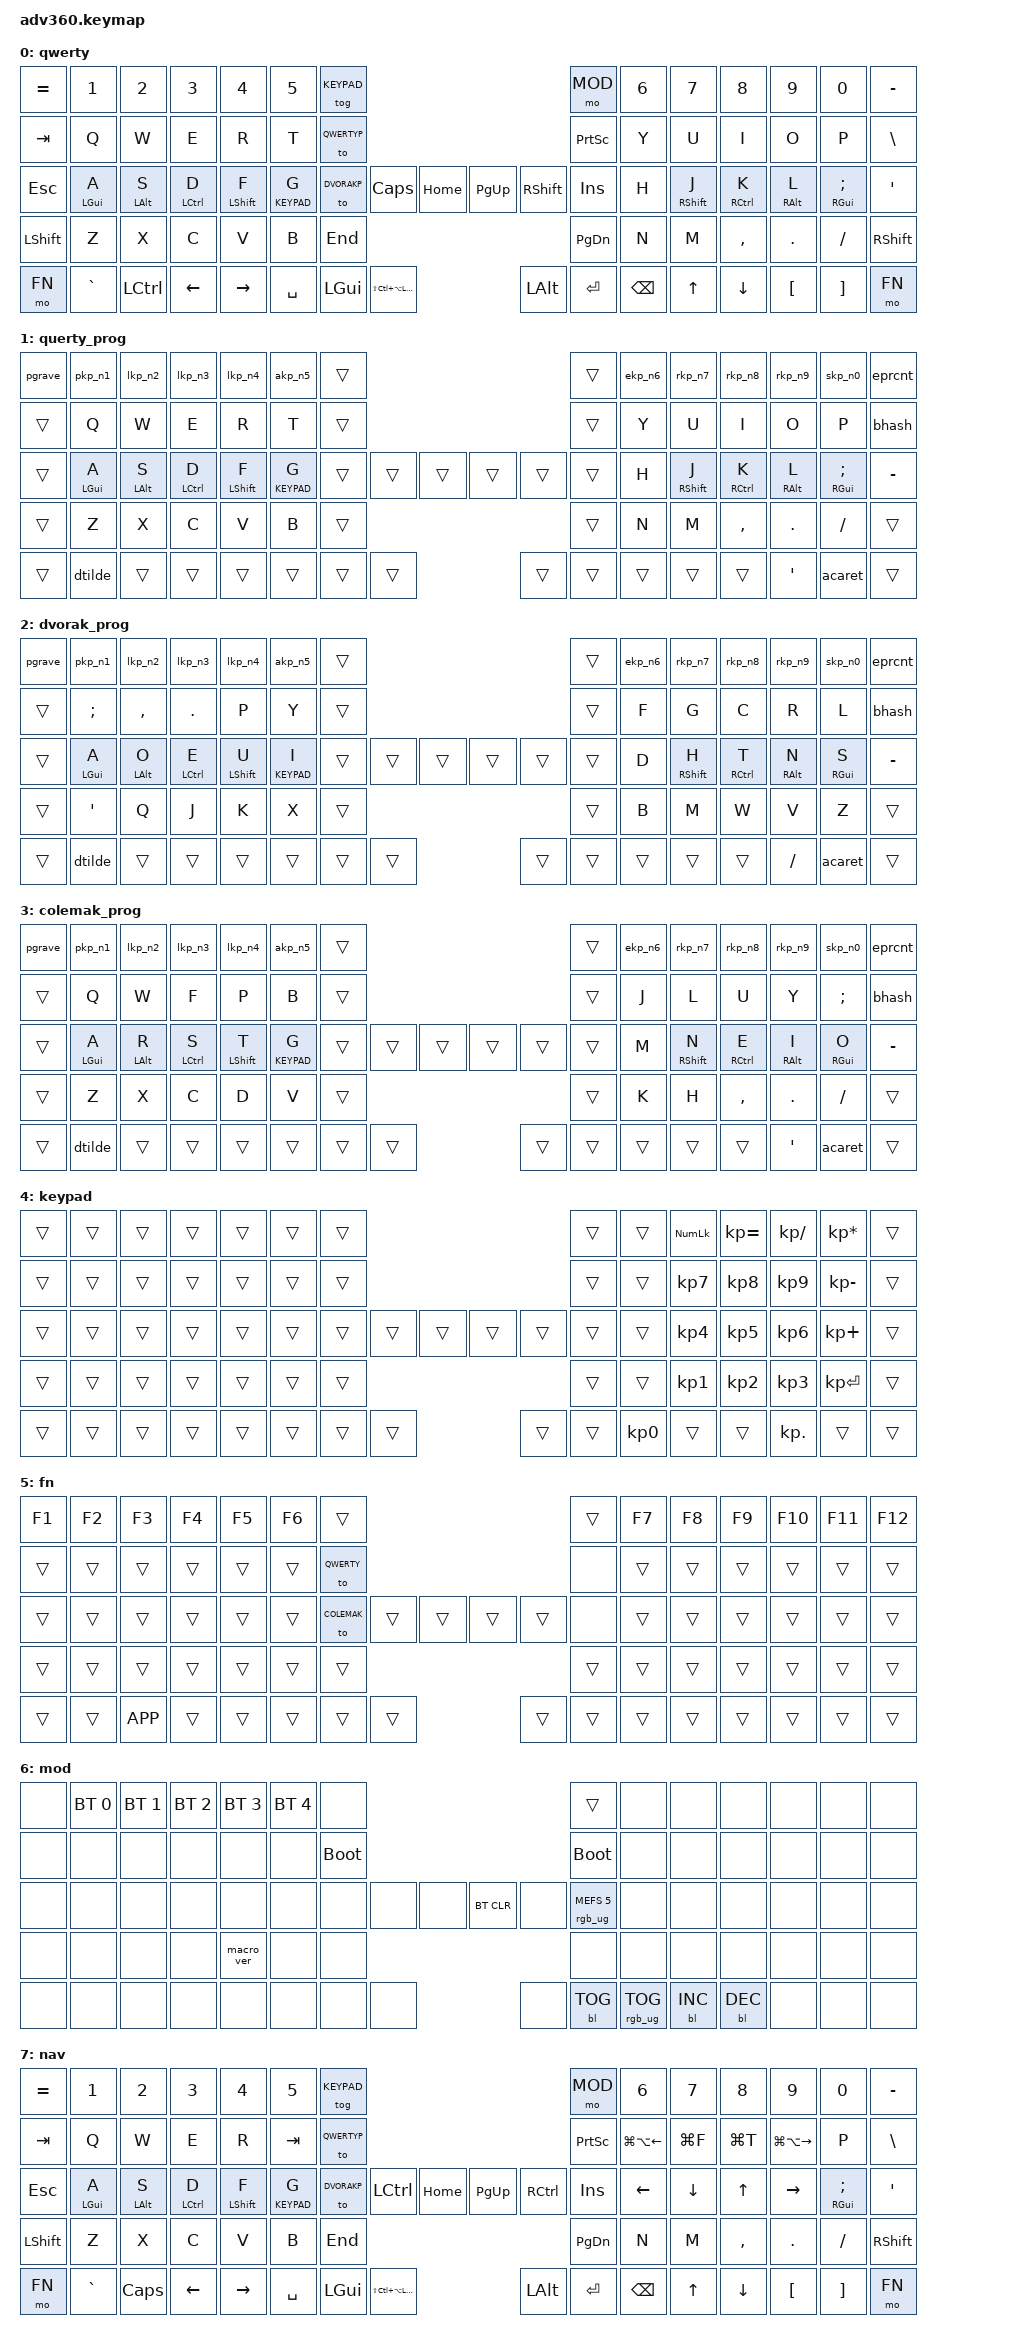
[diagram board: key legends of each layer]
#include <behaviors.dtsi>
#include <dt-bindings/zmk/keys.h>
#include <dt-bindings/zmk/bt.h>
#include <dt-bindings/zmk/rgb.h>
#include <dt-bindings/zmk/backlight.h>


#define ______ &trans
#define xxxxxx &none

#define HYPER    LS(LC(LA(LGUI)))
#define BROWSER_SEARCH LG(F) 
#define BROWSER_NEWTAB LG(T) 
#define BROWSER_NEXTTAB LG(LA(RIGHT))
#define BROWSER_PREVTAB LG(LA(LEFT))


#define QWERTY 0
#define QWERTYP 1
#define DVORAKP 2
#define COLEMAK 3
#define KEYPAD 4
#define FN 5
#define MOD 6
#define NAV 7


/ {
    behaviors {
        #include "macros.dtsi"
        #include "version.dtsi"
        #ifndef VERSION_MACRO
        macro_ver: macro_ver {
            compatible = "zmk,behavior-macro";
            label = "macro_version";
            #binding-cells = <0>;
            bindings = <&kp RET>;
        };
        #endif

        hm: homerow_mods {
            compatible = "zmk,behavior-hold-tap";
            label = "HOMEROW_MODS";
            #binding-cells = <2>;
            tapping-term-ms = <280>;
            quick_tap_ms = <175>;
            flavor = "tap-preferred";
            bindings = <&kp>, <&kp>;
        };
        hm_l: hm_l {
            compatible = "zmk,behavior-hold-tap";
            label = "HM_L";
            bindings = <&kp>, <&kp>;

            #binding-cells = <2>;
            tapping-term-ms = <280>;
            quick-tap-ms = <175>;
            require-prior-idle-ms = <150>;
            flavor = "balanced";
            hold-trigger-on-release;
            hold-trigger-key-positions = <7 8 9 10 11 12 13 21 22 23 24 25 26 27 37 38 39 40 41 42 43 44 45 53 54 55 56 57 58 59 68 69 70 71 72 73 74 75 36 52 67 35 66 65>;
        };
        hm_r: hm_r {
            compatible = "zmk,behavior-hold-tap";
            label = "HM_R";
            bindings = <&kp>, <&kp>;

            #binding-cells = <2>;
            tapping-term-ms = <280>;
            quick-tap-ms = <175>;
            flavor = "balanced";
            require-prior-idle-ms = <150>;
            hold-trigger-on-release;
            hold-trigger-key-positions = <0 1 2 3 4 5 6 14 15 16 17 18 19 20 28 29 30 31 32 33 34 35 36 46 47 48 49 50 51 52 60 61 62 63 64 65 66 67 37 38 53 69 68 70>;
        };
        gpipe: grave_pipe {
            compatible = "zmk,behavior-mod-morph";
            label = "grave_pipe";
            #binding-cells = <0>;
            bindings = <&kp GRAVE>, <&kp PIPE>;
            mods = <(LGUI|LSHIFT|RGUI|RSHIFT)>;
        };
        ppipe: pipe_pipe {
            compatible = "zmk,behavior-mod-morph";
            label = "pipe_pipe";
            #binding-cells = <0>;
            bindings = <&kp PIPE>, <&kp PIPE>;
            mods = <(LGUI|LSHIFT|RGUI|RSHIFT)>;
        };
        pkp_n1: plus_kp_n1 {
            compatible = "zmk,behavior-mod-morph";
            label = "plus_kp_n1";
            #binding-cells = <0>;
            bindings = <&kp PLUS>, <&kp KP_N1>;
            mods = <(LGUI|LSHIFT|RGUI|RSHIFT)>;
        };
        lkp_n2: left_bracket_kp_n2 {
            compatible = "zmk,behavior-mod-morph";
            label = "left_bracket_kp_n2";
            #binding-cells = <0>;
            bindings = <&kp LEFT_BRACKET>, <&kp KP_N2>;
            mods = <(LGUI|LSHIFT|RGUI|RSHIFT)>;
        };
        lkp_n3: left_brace_kp_n3 {
            compatible = "zmk,behavior-mod-morph";
            label = "left_brace_kp_n3";
            #binding-cells = <0>;
            bindings = <&kp LEFT_BRACE>, <&kp KP_N3>;
            mods = <(LGUI|LSHIFT|RGUI|RSHIFT)>;
        };
        lkp_n4: left_parenthesis_kp_n4 {
            compatible = "zmk,behavior-mod-morph";
            label = "left_parenthesis_kp_n4";
            #binding-cells = <0>;
            bindings = <&kp LEFT_PARENTHESIS>, <&kp KP_N4>;
            mods = <(LGUI|LSHIFT|RGUI|RSHIFT)>;
        };
        akp_n5: amps_kp_n5 {
            compatible = "zmk,behavior-mod-morph";
            label = "amps_kp_n5";
            #binding-cells = <0>;
            bindings = <&kp AMPS>, <&kp KP_N5>;
            mods = <(LGUI|LSHIFT|RGUI|RSHIFT)>;
        };
        ekp_n6: equal_kp_n6 {
            compatible = "zmk,behavior-mod-morph";
            label = "equal_kp_n6";
            #binding-cells = <0>;
            bindings = <&kp EQUAL>, <&kp KP_N6>;
            mods = <(LGUI|LSHIFT|RGUI|RSHIFT)>;
        };
        rkp_n7: right_parenthesis_kp_n7 {
            compatible = "zmk,behavior-mod-morph";
            label = "right_parenthesis_kp_n7";
            #binding-cells = <0>;
            bindings = <&kp RIGHT_PARENTHESIS>, <&kp KP_N7>;
            mods = <(LGUI|LSHIFT|RGUI|RSHIFT)>;
        };
        rkp_n8: right_brace_kp_n8 {
            compatible = "zmk,behavior-mod-morph";
            label = "right_brace_kp_n8";
            #binding-cells = <0>;
            bindings = <&kp RIGHT_BRACE>, <&kp KP_N8>;
            mods = <(LGUI|LSHIFT|RGUI|RSHIFT)>;
        };
        rkp_n9: right_bracket_kp_n9 {
            compatible = "zmk,behavior-mod-morph";
            label = "right_bracket_kp_n9";
            #binding-cells = <0>;
            bindings = <&kp RIGHT_BRACKET>, <&kp KP_N9>;
            mods = <(LGUI|LSHIFT|RGUI|RSHIFT)>;
        };
        skp_n0: star_kp_n0 {
            compatible = "zmk,behavior-mod-morph";
            label = "star_kp_n0";
            #binding-cells = <0>;
            bindings = <&kp STAR>, <&kp KP_N0>;
            mods = <(LGUI|LSHIFT|RGUI|RSHIFT)>;
        };
        eprcnt: excl_prcnt {
            compatible = "zmk,behavior-mod-morph";
            label = "excl_prcnt";
            #binding-cells = <0>;
            bindings = <&kp EXCL>, <&kp PRCNT>;
            mods = <(LGUI|LSHIFT|RGUI|RSHIFT)>;
        };
        dgrave: dllr_grave {
            compatible = "zmk,behavior-mod-morph";
            label = "dllr_grave";
            #binding-cells = <0>;
            bindings = <&kp DLLR>, <&kp GRAVE>;
            mods = <(LGUI|LSHIFT|RGUI|RSHIFT)>;
        };
        dtilde: dllr_tilde {
            compatible = "zmk,behavior-mod-morph";
            label = "dllr_tilde";
            #binding-cells = <0>;
            bindings = <&kp DLLR>, <&kp TILDE>;
            mods = <(LGUI|LSHIFT|RGUI|RSHIFT)>;
        };
        ggrave: grave_grave {
            compatible = "zmk,behavior-mod-morph";
            label = "grave_grave";
            #binding-cells = <0>;
            bindings = <&kp GRAVE>, <&kp GRAVE>;
            mods = <(LGUI|LSHIFT|RGUI|RSHIFT)>;
        };
        pgrave: pipe_grave {
            compatible = "zmk,behavior-mod-morph";
            label = "pipe_grave";
            #binding-cells = <0>;
            bindings = <&kp PIPE>, <&kp GRAVE>;
            mods = <(LGUI|LSHIFT|RGUI|RSHIFT)>;
        };
        bhash: bslh_hash {
            compatible = "zmk,behavior-mod-morph";
            label = "bslh_hash";
            #binding-cells = <0>;
            bindings = <&kp BSLH>, <&kp HASH>;
            mods = <(LGUI|LSHIFT|RGUI|RSHIFT)>;
        };
        acaret: at_caret {
            compatible = "zmk,behavior-mod-morph";
            label = "at_caret";
            #binding-cells = <0>;
            bindings = <&kp AT>, <&kp CARET>;
            mods = <(LGUI|LSHIFT|RGUI|RSHIFT)>;
        };
    };

    combos {
        compatible = "zmk,combos";

        tab {
            bindings = <&kp TAB>;
            key-positions = <17 18>;
        };

        esc {
            bindings = <&kp ESCAPE>;
            key-positions = <41 42>;
        };

        sw_prog_layer {
            bindings = <&tog NAV>;
            key-positions = <31 32>;
        };

    };

    keymap {
        compatible = "zmk,keymap";

        qwerty {
            bindings = <
                &kp EQUAL  &kp N1        &kp N2        &kp N3         &kp N4         &kp N5        &tog KEYPAD                                                 &mo MOD    &kp N6  &kp N7         &kp N8         &kp N9        &kp N0           &kp MINUS
                &kp TAB    &kp Q         &kp W         &kp E          &kp R          &kp T         &to QWERTYP                                                 &kp PSCRN  &kp Y   &kp U          &kp I          &kp O         &kp P            &kp BSLH
                &kp ESC    &hm_l LGUI A  &hm_l LALT S  &hm_l LCTRL D  &hm_l LSHFT F  &lt KEYPAD G  &to DVORAKP  &kp CAPS  &kp HOME      &kp PG_UP   &kp RSHFT  &kp INS    &kp H   &hm_r RSHFT J  &hm_r RCTRL K  &hm_r RALT L  &hm_r RGUI SEMI  &kp SQT
                &kp LSHFT  &kp Z         &kp X         &kp C          &kp V          &kp B                                 &kp END       &kp PG_DN                        &kp N   &kp M          &kp COMMA      &kp DOT       &kp FSLH         &kp RSHFT
                &mo FN     &kp GRAVE     &kp LCTRL      &kp LEFT       &kp RIGHT                    &kp SPACE    &kp LGUI   &kp HYPER     &kp LALT  &kp ENTER  &kp BSPC          &kp UP         &kp DOWN       &kp LBKT      &kp RBKT         &mo FN
            >;
        };

        querty_prog {
            bindings = <
                &pgrave  &pkp_n1       &lkp_n2       &lkp_n3        &lkp_n4        &akp_n5       ______                                      ______  &ekp_n6  &rkp_n7        &rkp_n8        &rkp_n9       &skp_n0          &eprcnt
                ______   &kp Q         &kp W         &kp E          &kp R          &kp T         ______                                      ______  &kp Y    &kp U          &kp I          &kp O         &kp P            &bhash
                ______   &hm_l LGUI A  &hm_l LALT S  &hm_l LCTRL D  &hm_l LSHFT F  &lt KEYPAD G  ______  ______  ______      ______  ______  ______  &kp H    &hm_r RSHFT J  &hm_r RCTRL K  &hm_r RALT L  &hm_r RGUI SEMI  &kp MINUS
                ______   &kp Z         &kp X         &kp C          &kp V          &kp B                         ______      ______                  &kp N    &kp M          &kp COMMA      &kp DOT       &kp FSLH         ______
                ______   &dtilde       ______        ______         ______                       ______  ______  ______      ______  ______  ______           ______         ______         &kp SQT       &acaret          ______
            >;
        };

        dvorak_prog {
            bindings = <
                &pgrave  &pkp_n1       &lkp_n2       &lkp_n3        &lkp_n4        &akp_n5       ______                                      ______  &ekp_n6  &rkp_n7        &rkp_n8        &rkp_n9       &skp_n0       &eprcnt
                ______   &kp SEMI      &kp COMMA     &kp DOT        &kp P          &kp Y         ______                                      ______  &kp F    &kp G          &kp C          &kp R         &kp L         &bhash
                ______   &hm_l LGUI A  &hm_l LALT O  &hm_l LCTRL E  &hm_l LSHFT U  &lt KEYPAD I  ______  ______  ______      ______  ______  ______  &kp D    &hm_r RSHFT H  &hm_r RCTRL T  &hm_r RALT N  &hm_r RGUI S  &kp MINUS
                ______   &kp SQT       &kp Q         &kp J          &kp K          &kp X                         ______      ______                  &kp B    &kp M          &kp W          &kp V         &kp Z         ______
                ______   &dtilde       ______        ______         ______                       ______  ______  ______      ______  ______  ______           ______         ______         &kp FSLH      &acaret       ______
            >;
        };

        colemak_prog {
            bindings = <
                &pgrave  &pkp_n1       &lkp_n2       &lkp_n3        &lkp_n4        &akp_n5       ______                                      ______  &ekp_n6  &rkp_n7        &rkp_n8        &rkp_n9       &skp_n0       &eprcnt
                ______   &kp Q         &kp W         &kp F          &kp P          &kp B         ______                                      ______  &kp J    &kp L          &kp U          &kp Y         &kp SEMI      &bhash
                ______   &hm_l LGUI A  &hm_l LALT R  &hm_l LCTRL S  &hm_l LSHFT T  &lt KEYPAD G  ______  ______  ______      ______  ______  ______  &kp M    &hm_r RSHFT N  &hm_r RCTRL E  &hm_r RALT I  &hm_r RGUI O  &kp MINUS
                ______   &kp Z         &kp X         &kp C          &kp D          &kp V                         ______      ______                  &kp K    &kp H          &kp COMMA      &kp DOT       &kp FSLH      ______
                ______   &dtilde       ______        ______         ______                       ______  ______  ______      ______  ______  ______           ______         ______         &kp SQT       &acaret       ______
            >;
        };

        keypad {
            bindings = <
                ______  ______  ______  ______  ______  ______  ______                                      ______     ______  &kp KP_NUM  &kp KP_EQUAL  &kp KP_DIVIDE  &kp KP_MULTIPLY  ______
                ______  ______  ______  ______  ______  ______  ______                                      ______     ______  &kp KP_N7   &kp KP_N8     &kp KP_N9      &kp KP_MINUS     ______
                ______  ______  ______  ______  ______  ______  ______  ______  ______      ______  ______  ______     ______  &kp KP_N4   &kp KP_N5     &kp KP_N6      &kp KP_PLUS      ______
                ______  ______  ______  ______  ______  ______                  ______      ______                     ______  &kp KP_N1   &kp KP_N2     &kp KP_N3      &kp KP_ENTER     ______
                ______  ______  ______  ______  ______          ______  ______  ______      ______  ______  &kp KP_N0          ______      ______        &kp KP_DOT     ______           ______
            >;
        };

        fn {
            bindings = <
                &kp F1  &kp F2  &kp F3     &kp F4  &kp F5  &kp F6  ______                                           ______  &kp F7  &kp F8  &kp F9  &kp F10  &kp F11  &kp F12
                ______  ______  ______     ______  ______  ______  &to QWERTY                                       xxxxxx  ______  ______  ______  ______   ______   ______
                ______  ______  ______     ______  ______  ______  &to COLEMAK  ______  ______      ______  ______  xxxxxx  ______  ______  ______  ______   ______   ______
                ______  ______  ______     ______  ______  ______                       ______      ______                  ______  ______  ______  ______   ______   ______
                ______  ______  &kp K_APP  ______  ______          ______       ______  ______      ______  ______  ______          ______  ______  ______   ______   ______
            >;
        };

        mod {
            bindings = <
                xxxxxx  &bt BT_SEL 0  &bt BT_SEL 1  &bt BT_SEL 2  &bt BT_SEL 3  &bt BT_SEL 4  xxxxxx                                                  ______                  xxxxxx  xxxxxx      xxxxxx      xxxxxx  xxxxxx  xxxxxx
                xxxxxx  xxxxxx        xxxxxx        xxxxxx        xxxxxx        xxxxxx        &bootloader                                             &bootloader             xxxxxx  xxxxxx      xxxxxx      xxxxxx  xxxxxx  xxxxxx
                xxxxxx  xxxxxx        xxxxxx        xxxxxx        xxxxxx        xxxxxx        xxxxxx       xxxxxx  xxxxxx     &bt BT_CLR  xxxxxx      &rgb_ug RGB_MEFS_CMD 5  xxxxxx  xxxxxx      xxxxxx      xxxxxx  xxxxxx  xxxxxx
                xxxxxx  xxxxxx        xxxxxx        xxxxxx        &macro_ver    xxxxxx                             xxxxxx     xxxxxx                                          xxxxxx  xxxxxx      xxxxxx      xxxxxx  xxxxxx  xxxxxx
                xxxxxx  xxxxxx        xxxxxx        xxxxxx        xxxxxx                      xxxxxx       xxxxxx  xxxxxx     xxxxxx      &bl BL_TOG  &rgb_ug RGB_TOG                 &bl BL_INC  &bl BL_DEC  xxxxxx  xxxxxx  xxxxxx
            >;
        };

        nav {
            bindings = <
                &kp EQUAL  &kp N1        &kp N2        &kp N3         &kp N4         &kp N5        &tog KEYPAD                                                 &mo MOD    &kp N6  &kp N7         &kp N8         &kp N9        &kp N0           &kp MINUS
                &kp TAB    &kp Q         &kp W         &kp E          &kp R          &kp TAB       &to QWERTYP                                                 &kp PSCRN  &kp BROWSER_PREVTAB   &kp BROWSER_SEARCH          &kp BROWSER_NEWTAB          &kp BROWSER_NEXTTAB         &kp P            &kp BSLH
                &kp ESC    &hm_l LGUI A  &hm_l LALT S  &hm_l LCTRL D  &hm_l LSHFT F  &lt KEYPAD G  &to DVORAKP  &kp LCTRL  &kp HOME      &kp PG_UP   &kp RCTRL  &kp INS   &kp LEFT   &kp DOWN  &kp UP  &kp RIGHT  &hm_r RGUI SEMI  &kp SQT
                &kp LSHFT  &kp Z         &kp X         &kp C          &kp V          &kp B                                 &kp END       &kp PG_DN                        &kp N   &kp M          &kp COMMA      &kp DOT       &kp FSLH         &kp RSHFT
                &mo FN     &kp GRAVE     &kp CAPS      &kp LEFT       &kp RIGHT                    &kp SPACE    &kp LGUI   &kp HYPER      &kp LALT  &kp ENTER  &kp BSPC          &kp UP         &kp DOWN       &kp LBKT      &kp RBKT         &mo FN
            >;
        };
    };
};
